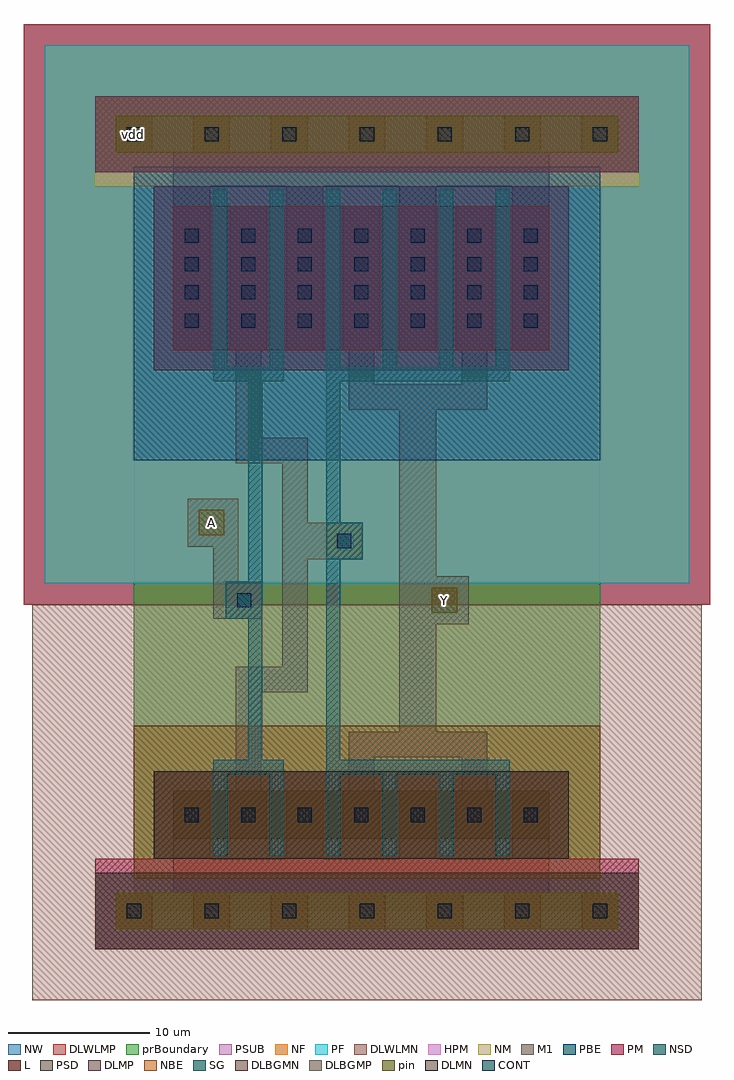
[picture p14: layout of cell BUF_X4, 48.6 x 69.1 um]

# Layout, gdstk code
import gdstk
lib = gdstk.Library(unit=1e-6, precision=1e-09)
def R(c, l, rs):  # rectangles x0, y0, x1, y1
    for r in rs: c.add(gdstk.rectangle(r[:2], r[2:], *l))
def A(c, l, x, y, w, h, nx, ny, dx, dy):  # array of equal rectangles
    R(c, l, [(x+i*dx, y+j*dy, x+i*dx+w, y+j*dy+h) for i in range(nx) for j in range(ny)])
def P(c, l, *ps):  # polygons
    for p in ps: c.add(gdstk.Polygon(p, *l))
L = (3, 0)
NM = (7, 0)
SG = (8, 0)
PSD = (9, 0)
CONT = (11, 0)
M1 = (13, 0)
NF = (25, 0)
PF = (26, 0)
NSD = (28, 0)
HPM = (33, 0)
PM = (35, 0)
NW = (36, 0)
pin = (48, 1)
PSUB = (140, 0)
PBE = (146, 0)
NBE = (147, 0)
DLWLMP = (150, 0)
DLWLMN = (151, 0)
DLMP = (157, 0)
DLMN = (158, 0)
DLBGMP = (177, 0)
DLBGMN = (178, 0)
prBoundary = (235, 0)

buf_x4 = lib.new_cell('BUF_X4')
A(buf_x4, L, -1.3, -1.3, 2.6, 2.6, 7, 2, 5.5, 55)
R(buf_x4, L, [(2.8,5.1,29.4,8.5), (2.8,39.7,29.4,49.9)])
R(buf_x4, NM, [(-2.75,-2.7,35.75,2.7)])
P(buf_x4, NM, [(1.4,38.3),(1.4,51.3),(-2.75,51.3),(-2.75,57.7),(35.75,57.7),(35.75,51.3),(30.8,51.3),(30.8,38.3)])
P(buf_x4, SG, [(5.6,3.9),(5.6,10.7),(8.1,10.7),(8.1,20.7),(6.5,20.7),(6.5,23.3),(8.1,23.3),(8.1,37.5),(5.6,37.5),(5.6,51.1),(6.6,51.1),(6.6,38.5),(9.6,38.5),(9.6,51.1),(10.6,51.1),(10.6,37.5),(9.1,37.5),(9.1,10.7),(10.6,10.7),(10.6,3.9),(9.6,3.9),(9.6,9.7),(6.6,9.7),(6.6,3.9)],
  [(13.6,3.9),(13.6,51.1),(14.6,51.1),(14.6,38.5),(17.6,38.5),(17.6,51.1),(18.6,51.1),(18.6,38.5),(21.6,38.5),(21.6,51.1),(22.6,51.1),(22.6,38.5),(25.6,38.5),(25.6,51.1),(26.6,51.1),(26.6,37.5),(14.6,37.5),(14.6,27.5),(16.2,27.5),(16.2,24.9),(14.6,24.9),(14.6,10.7),(26.6,10.7),(26.6,3.9),(25.6,3.9),(25.6,9.7),(22.6,9.7),(22.6,3.9),(21.6,3.9),(21.6,9.7),(18.6,9.7),(18.6,3.9),(17.6,3.9),(17.6,9.7),(14.6,9.7),(14.6,3.9)])
R(buf_x4, PSD, [(1.4,3.7,30.8,9.9), (-2.75,52.3,35.75,57.7)])
A(buf_x4, CONT, -0.5, -0.5, 1, 1, 7, 2, 5.5, 55)
A(buf_x4, CONT, 3.6, 6.3, 1, 1, 3, 2, 4, 35)
A(buf_x4, CONT, 11.6, 6.3, 1, 1, 5, 2, 4, 35)
A(buf_x4, CONT, 3.6, 43.3, 1, 1, 3, 3, 4, 2)
A(buf_x4, CONT, 11.6, 43.3, 1, 1, 5, 3, 4, 2)
R(buf_x4, CONT, [(7.3,21.5,8.3,22.5), (14.4,25.7,15.4,26.7)])
P(buf_x4, M1, [(-1.3,-1.3),(-1.3,1.3),(2.8,1.3),(2.8,8.5),(5.4,8.5),(5.4,3.7),(10.8,3.7),(10.8,8.5),(13.4,8.5),(13.4,3.7),(18.8,3.7),(18.8,8.5),(21.4,8.5),(21.4,3.7),(26.8,3.7),(26.8,8.5),(29.4,8.5),(29.4,1.3),(34.3,1.3),(34.3,-1.3)],
  [(5.6,20.7),(5.6,25.8),(3.8,25.8),(3.8,29.2),(7.4,29.2),(7.4,23.3),(9.1,23.3),(9.1,20.7)],
  [(6.8,5.1),(6.8,8.5),(7.2,8.5),(7.2,17.3),(10.5,17.3),(10.5,31.7),(7.2,31.7),(7.2,39.7),(6.8,39.7),(6.8,49.9),(9.4,49.9),(9.4,39.7),(9,39.7),(9,33.5),(12.3,33.5),(12.3,27.5),(16.2,27.5),(16.2,24.9),(12.3,24.9),(12.3,15.5),(9,15.5),(9,8.5),(9.4,8.5),(9.4,5.1)],
  [(14.8,5.1),(14.8,8.5),(15.2,8.5),(15.2,12.7),(18.8,12.7),(18.8,35.5),(15.2,35.5),(15.2,39.7),(14.8,39.7),(14.8,49.9),(17.4,49.9),(17.4,39.7),(17,39.7),(17,37.3),(23.2,37.3),(23.2,39.7),(22.8,39.7),(22.8,49.9),(25.4,49.9),(25.4,39.7),(25,39.7),(25,35.5),(21.4,35.5),(21.4,23.7),(23.7,23.7),(23.7,20.3),(21.4,20.3),(21.4,12.7),(25,12.7),(25,8.5),(25.4,8.5),(25.4,5.1),(22.8,5.1),(22.8,8.5),(23.2,8.5),(23.2,10.9),(17,10.9),(17,8.5),(17.4,8.5),(17.4,5.1)],
  [(2.8,39.7),(2.8,53.7),(-1.3,53.7),(-1.3,56.3),(34.3,56.3),(34.3,53.7),(29.4,53.7),(29.4,39.7),(26.8,39.7),(26.8,51.3),(21.4,51.3),(21.4,39.7),(18.8,39.7),(18.8,51.3),(13.4,51.3),(13.4,39.7),(10.8,39.7),(10.8,51.3),(5.4,51.3),(5.4,39.7)])
R(buf_x4, NF, [(-6.3,23.2,39.3,61.3)])
R(buf_x4, PF, [(-6.3,23.2,39.3,61.3)])
R(buf_x4, NSD, [(-2.75,-2.7,35.75,2.7), (1.4,38.3,30.8,51.3)])
P(buf_x4, HPM, [(-2.75,-2.7),(-2.75,3.7),(1.4,3.7),(1.4,9.9),(30.8,9.9),(30.8,3.7),(35.75,3.7),(35.75,-2.7)],
  [(1.4,38.3),(1.4,51.3),(-2.75,51.3),(-2.75,57.7),(35.75,57.7),(35.75,51.3),(30.8,51.3),(30.8,38.3)])
R(buf_x4, PM, [(-2.75,52.3,35.75,57.7)])
P(buf_x4, PM, [(-2.75,-2.7),(-2.75,3.7),(1.4,3.7),(1.4,9.9),(30.8,9.9),(30.8,3.7),(35.75,3.7),(35.75,-2.7)])
R(buf_x4, NW, [(-7.8,21.7,40.8,62.8)])
R(buf_x4, pin, [(-1.3,-1.3,34.3,1.3), (21.1,21.1,22.9,22.9), (4.6,26.6,6.4,28.4), (-1.3,53.7,34.3,56.3)])
R(buf_x4, PSUB, [(-6.3,23.2,39.3,61.3)])
R(buf_x4, PBE, [(0,31.9,33,52.7)])
R(buf_x4, NBE, [(0,2.3,33,13.1)])
R(buf_x4, DLWLMP, [(-7.8,21.7,40.8,62.8)])
R(buf_x4, DLWLMN, [(-7.2,-6.3,40.2,21.7)])
R(buf_x4, DLMP, [(1.4,38.3,30.8,51.3)])
R(buf_x4, DLMN, [(1.4,3.7,30.8,9.9)])
R(buf_x4, DLBGMP, [(-2.75,52.3,35.75,57.7)])
R(buf_x4, DLBGMN, [(-2.75,-2.7,35.75,2.7)])
R(buf_x4, prBoundary, [(0,0,33,55)])
buf_x4.add(gdstk.Label('Y', (22,22), layer=48, texttype=0))
buf_x4.add(gdstk.Label('A', (5.5,27.5), layer=48, texttype=0))
buf_x4.add(gdstk.Label('vdd', (0,55), layer=48, texttype=0))

lib.write_gds('BUF_X4.gds')
